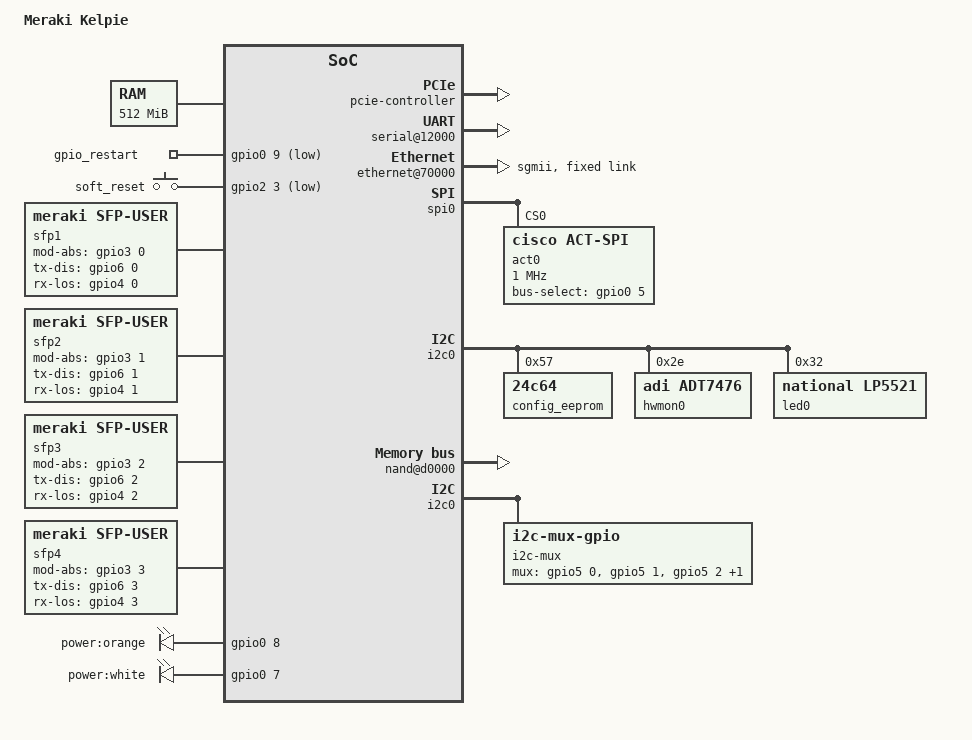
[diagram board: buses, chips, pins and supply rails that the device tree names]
/*
 * Device Tree base file for Meraki GS110/MS120/MS125, based on the
 * Marvell AlleyCat3 SoC. Derived from msys-ac3-db.dts.
 *
 * Copyright (C) 2016 Cisco Systems
 *
 */

#include <dt-bindings/gpio/gpio.h>
#include <dt-bindings/input/input.h>
#include <dt-bindings/meraki/tam.h>
#include "msys-ac3.dtsi"

/ {
	model = "Meraki Kelpie";
	compatible = "meraki,kelpie";

	memory {
		device_type = "memory";
		reg = <0x00000000 0x00000000 0x00000000 0x20000000>;
	};

	reserved-memory {
		#address-cells = <2>;
		#size-cells = <2>;
		ranges;

		pstore_reserved: pstore@0x1FFF0000 {
			reg = <0 0x1FFF0000 0 0x10000>;
		};
	};

	ramoops {
		compatible = "ramoops";
		memory-region = <&pstore_reserved>;
		record-size = <0x10000>;
		console-size = <0>;
		ftrace-size = <0>;
		pmsg-size = <0>;
		ecc-size = <0>;
	};

	/* Toggle GPIO 9 to reset the system. This
	 * will trigger an FPGA upgrade if valid images
	 * are written to eSPI.
	 */
	gpio_restart {
		compatible = "gpio-restart";
		gpios = <&gpio0 9 GPIO_ACTIVE_LOW>;
		priority = <200>;
	};

	/*
	 * Virtual (software defined) devices
	 */
	sfp-bus {
		compatible = "simple-bus";
		#address-cells = <1>;
		#size-cells = <0>;

		gpio2: gpio-controller@0 {
			compatible = "meraki,fpga-to-gpio";
			#gpio-cells = <2>;
			reg = <0x10000>;
			gpio-controller;
			ngpios = <0x4>;
			reg-size = <0x8>;
			fpga-parent = <&act0>;
		};
		gpio-buttons {
			compatible = "gpio-keys-polled";
			#address-cells = <1>;
			#size-cells = <0>;
			poll-interval = <250>;
			autorepeat;
			button@1 {
				label = "soft_reset";
				linux,code = <KEY_RESTART>;
				gpios = <&gpio2 3 GPIO_ACTIVE_LOW>;
			};
		};
		gpio3: gpio-controller@14 {
			compatible = "meraki,fpga-to-gpio";
			#gpio-cells = <2>;
			reg = <0x10014>;
			gpio-controller;
			ngpios = <0x4>;
			reg-size = <0x8>;
			fpga-parent = <&act0>;
		};
		gpio4: gpio-controller@18 {
			compatible = "meraki,fpga-to-gpio";
			#gpio-cells = <2>;
			reg = <0x10018>;
			gpio-controller;
			ngpios = <0x4>;
			reg-size = <0x8>;
			fpga-parent = <&act0>;
		};
		gpio5: gpio-controller@c {
			compatible = "meraki,fpga-to-gpio";
			#gpio-cells = <2>;
			reg = <0x1000c>;
			gpio-controller;
			ngpios = <0x4>;
			reg-size = <0x8>;
			fpga-parent = <&act0>;
		};
		gpio6: gpio-controller@10 {
			compatible = "meraki,fpga-to-gpio";
			#gpio-cells = <2>;
			reg = <0x10010>;
			ngpios = <0x4>;
			reg-size = <0x8>;
			fpga-parent = <&act0>;
		};
		gpio7: gpio-controller@4 {
			compatible = "meraki,fpga-to-gpio";
			#gpio-cells = <2>;
			reg = <0x10004>;
			ngpios = <7>;
			reg-size = <0x8>;
			fpga-parent = <&act0>;
		};
		sfp1: fp@1 {
			compatible = "meraki,sfp-user";
			id = <1>;
			mod-abs = <&gpio3 0 GPIO_ACTIVE_HIGH>;
			tx-dis = <&gpio6 0 GPIO_ACTIVE_HIGH>;
			rx-los = <&gpio4 0 GPIO_ACTIVE_HIGH>;
			i2c = <&i2c_sfp1>;
		};
		sfp2: sfp@2 {
			compatible = "meraki,sfp-user";
			id = <2>;
			mod-abs = <&gpio3 1 GPIO_ACTIVE_HIGH>;
			tx-dis = <&gpio6 1 GPIO_ACTIVE_HIGH>;
			rx-los = <&gpio4 1 GPIO_ACTIVE_HIGH>;
			i2c = <&i2c_sfp2>;
		};
		sfp3: sfp@3 {
			compatible = "meraki,sfp-user";
			id = <3>;
			mod-abs = <&gpio3 2 GPIO_ACTIVE_HIGH>;
			tx-dis = <&gpio6 2 GPIO_ACTIVE_HIGH>;
			rx-los = <&gpio4 2 GPIO_ACTIVE_HIGH>;
			i2c = <&i2c_sfp3>;
		};
		sfp4: sfp@4 {
			compatible = "meraki,sfp-user";
			id = <4>;
			mod-abs = <&gpio3 3 GPIO_ACTIVE_HIGH>;
			tx-dis = <&gpio6 3 GPIO_ACTIVE_HIGH>;
			rx-los = <&gpio4 3 GPIO_ACTIVE_HIGH>;
			i2c = <&i2c_sfp4>;
		};
	};

	soc {
		ranges = <MBUS_ID(0xf0, 0x01) 0 0 0xf1000000 0x100000
			  MBUS_ID(0x01, 0x1d) 0 0 0xfff00000 0x100000
			  MBUS_ID(0x01, 0x2f) 0 0 0xf0000000 0x1000000
			  MBUS_ID(0x03, 0x00) 0 0 0xf8000000 0x4000000	/* switch */
			  MBUS_ID(0x08, 0x00) 0 0 0xfc000000 0x100000	/* dfx */
			  MBUS_ID(0x0a, 0x00) 0 0 0x80000000 0x8000000>; /* Dragonite */

		pcie-controller {
			status = "okay";

			pcie@1,0 {
				pinctrl-names = "default";
				pinctrl-0 = <&pex_pin>;
				status = "okay";
			};
		};

		internal-regs {
			serial@12000 {
				status = "okay";
			};
			ethernet@70000 {
				status = "okay";
				compatible = "marvell,armada-xp-neta";
				phy-mode = "sgmii";
				fixed-link {
					speed = <1000>;
					full-duplex;
				};
			};
			spi0: spi@10600 {
				status = "okay";
				pinctrl-0 = <&spi_pins>;
				pinctrl-names = "default";

				act0: act@0 {
					compatible = "cisco,act-spi";
					spi-max-frequency = <1000000>;
					write-buf-size = /bits/ 16 <1792>;
					bus-select-gpios = <&gpio0 5 GPIO_ACTIVE_HIGH>;
					multiboot = <0x10004 0x80 0>;
					reg = <0>;
					chip_family = <TAM_FAMILY_FPGA>;
				};
			};
			i2c0: i2c@11000 {
				pinctrl-names = "default";
				pinctrl-0 = <&i2c0_pins>;

				config_eeprom: eeprom@57 {
					compatible = "24c64";
					reg = <0x57>;
					pagesize = <32>;
				};
				hwmon0: hwmon@2e {
					compatible = "adi,adt7476";
					reg = <0x2e>;
				};
				led0: led_controller@32 {
					compatible = "national,lp5521";
					reg = <0x32>;
					clock-mode = /bits/ 8 <1>;
					cp-mode = /bits/ 8 <0x1>;
					pwrsave-dis;
					log-pwm-dis;
					exec = /bits/ 8 <0>;

					chan0 {
					      chan-name = "tricolor0:red";
					      led-cur = /bits/ 8 <0xaf>;
					      max-cur = /bits/ 8 <0xff>;
					};

					chan1 {
					      chan-name = "tricolor0:green";
					      led-cur = /bits/ 8 <0xaf>;
					      max-cur = /bits/ 8 <0xff>;
					};

					chan2 {
					      chan-name = "tricolor0:blue";
					      led-cur = /bits/ 8 <0xaf>;
					      max-cur = /bits/ 8 <0xff>;
					};
				};
			};
			nand@d0000 {
				status = "okay";
				num-cs = <1>;
				marvell,nand-keep-config;
				marvell,nand-enable-arbiter;
				nand-on-flash-bbt;

				partitions {
					compatible = "fixed-partitions";
					#address-cells = <1>;
					#size-cells = <1>;

					partition@0 {
						label = "sig0";
						reg = <0 0x20000>;
					};
					partition@20000 {
						label = "ddrInit0";
						reg = <0x20000 0x100000>;
					};
					partition@120000 {
						label = "uboot0";
						reg = <0x120000 0x200000>;
					};
					partition@320000 {
						label = "ddrInit1";
						reg = <0x320000 0x100000>;
					};
					partition@420000 {
						label = "uboot1";
						reg = <0x420000 0x200000>;
					};
					partition@700000 {
						label = "sig1";
						reg = <0x700000 0x20000>;
					};
					partition@800000 {
						label = "ubi";
						reg = <0x800000 0xf800000>;
					};
				};
			};
		};
	};

	leds {
		compatible = "gpio-leds";

		power-orange {
			label = "power:orange";
			gpios = <&gpio0 8 GPIO_ACTIVE_HIGH>;
			default-state = "on";
		};

		power-white {
			label = "power:white";
			gpios = <&gpio0 7 GPIO_ACTIVE_HIGH>;
			default-state = "off";
		};
	};

	i2c-mux {
		compatible = "i2c-mux-gpio";
		#address-cells = <1>;
		#size-cells = <0>;
		mux-gpios = <&gpio5 0 GPIO_ACTIVE_HIGH
			     &gpio5 1 GPIO_ACTIVE_HIGH
			     &gpio5 2 GPIO_ACTIVE_HIGH
			     &gpio5 3 GPIO_ACTIVE_HIGH>;
		i2c-parent = <&i2c0>;
		i2c_sfp1: i2c@0 {
			reg = <1>;
			#address-cells = <1>;
			#size-cells = <0>;
		};
		i2c_sfp2: i2c@1 {
			reg = <2>;
			#address-cells = <1>;
			#size-cells = <0>;
		};
		i2c_sfp3: i2c@2 {
			reg = <4>;
			#address-cells = <1>;
			#size-cells = <0>;
		};
		i2c_sfp4: i2c@3 {
			reg = <8>;
			#address-cells = <1>;
			#size-cells = <0>;
		};
	};

	board-data {
		compatible = "meraki,meraki-config";
		i2c-eeprom = <&config_eeprom>;
	};
};
